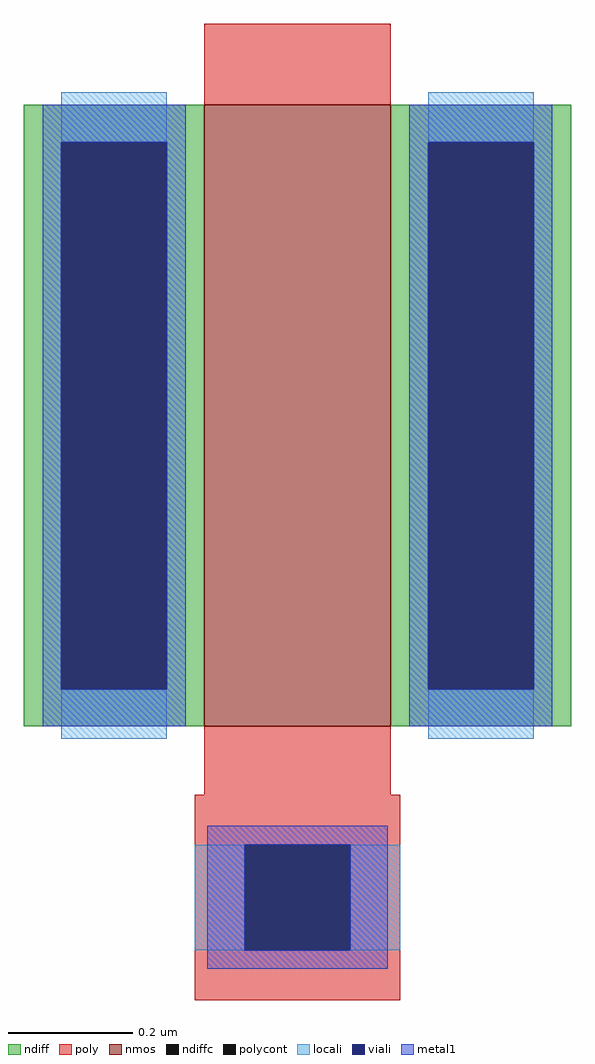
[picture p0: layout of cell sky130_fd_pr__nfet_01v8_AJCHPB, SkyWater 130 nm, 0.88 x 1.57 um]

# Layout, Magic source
magic
tech sky130B
magscale 1 2
<< nmos >>
rect -30 -69 30 131
<< ndiff >>
rect -88 119 -30 131
rect -88 -57 -76 119
rect -42 -57 -30 119
rect -88 -69 -30 -57
rect 30 119 88 131
rect 30 -57 42 119
rect 76 -57 88 119
rect 30 -69 88 -57
<< ndiffc >>
rect -76 -57 -42 119
rect 42 -57 76 119
<< poly >>
rect -30 131 30 157
rect -30 -91 30 -69
rect -33 -107 33 -91
rect -33 -141 -17 -107
rect 17 -141 33 -107
rect -33 -157 33 -141
<< polycont >>
rect -17 -141 17 -107
<< locali >>
rect -76 119 -42 135
rect -76 -73 -42 -57
rect 42 119 76 135
rect 42 -73 76 -57
rect -33 -141 -17 -107
rect 17 -141 33 -107
<< viali >>
rect -76 -57 -42 119
rect 42 -57 76 119
rect -17 -141 17 -107
<< metal1 >>
rect -82 119 -36 131
rect -82 -57 -76 119
rect -42 -57 -36 119
rect -82 -69 -36 -57
rect 36 119 82 131
rect 36 -57 42 119
rect 76 -57 82 119
rect 36 -69 82 -57
rect -29 -107 29 -101
rect -29 -141 -17 -107
rect 17 -141 29 -107
rect -29 -147 29 -141
<< properties >>
string gencell sky130_fd_pr__nfet_01v8
string library sky130
string parameters w 1 l 0.30 m 1 nf 1 diffcov 100 polycov 100 guard 0 glc 1 grc 1 gtc 1 gbc 1 tbcov 100 rlcov 100 topc 0 botc 1 poverlap 0 doverlap 1 lmin 0.15 wmin 0.42 compatible {sky130_fd_pr__nfet_01v8 sky130_fd_pr__nfet_01v8_lvt  sky130_fd_bs_flash__special_sonosfet_star  sky130_fd_pr__nfet_g5v0d10v5 sky130_fd_pr__nfet_05v0_nvt  sky130_fd_pr__nfet_03v3_nvt} full_metal 1 viasrc 100 viadrn 100 viagate 100 viagb 0 viagr 0 viagl 0 viagt 0
<< end >>
